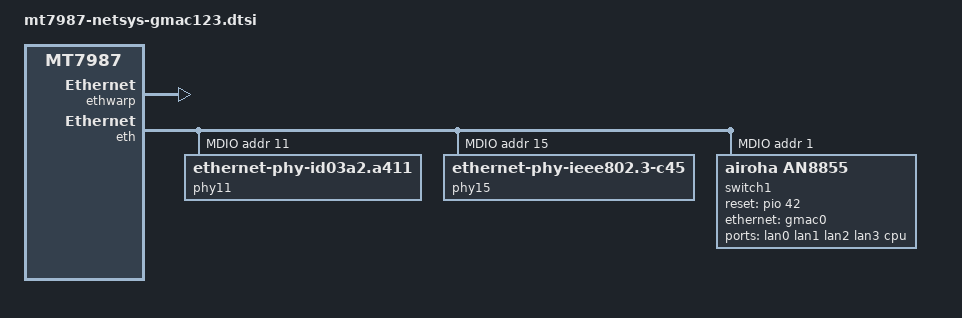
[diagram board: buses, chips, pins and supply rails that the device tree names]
// SPDX-License-Identifier: (GPL-2.0 OR MIT)

#include <dt-bindings/interrupt-controller/irq.h>
#include <dt-bindings/interrupt-controller/arm-gic.h>
#include <dt-bindings/phy/phy.h>
#include <dt-bindings/reset/ti-syscon.h>
#include <dt-bindings/clock/mediatek,mt7987-clk.h>
#include <dt-bindings/pinctrl/mt65xx.h>

&netsys {
	ethwarp: syscon@15031000 {
		compatible = "mediatek,mt7988-ethwarp", "syscon";
		reg = <0 0x15031000 0 0x1000>;
		#clock-cells = <1>;
	};

	eth: ethernet@15100000 {
		compatible = "mediatek,mt7987-eth";
		reg = <0 0x15100000 0 0x80000>,
		      <0 0x15400000 0 0x20000>;
		interrupts = <GIC_SPI 189 IRQ_TYPE_LEVEL_HIGH>,
			     <GIC_SPI 190 IRQ_TYPE_LEVEL_HIGH>,
			     <GIC_SPI 191 IRQ_TYPE_LEVEL_HIGH>,
			     <GIC_SPI 192 IRQ_TYPE_LEVEL_HIGH>,
			     <GIC_SPI 196 IRQ_TYPE_LEVEL_HIGH>,
			     <GIC_SPI 197 IRQ_TYPE_LEVEL_HIGH>,
			     <GIC_SPI 198 IRQ_TYPE_LEVEL_HIGH>,
			     <GIC_SPI 199 IRQ_TYPE_LEVEL_HIGH>;
		clocks = <&ethsys CK_ETHDMA_FE_EN>,
			 <&ethsys CK_ETHDMA_GP2_EN>,
			 <&ethsys CK_ETHDMA_GP1_EN>,
			 <&ethsys CK_ETHDMA_GP3_EN>,
			 <&sgmiisys0 CK_SGM0_TX_EN>,
			 <&sgmiisys0 CK_SGM0_RX_EN>,
			 <&sgmiisys1 CK_SGM1_TX_EN>,
			 <&sgmiisys1 CK_SGM1_RX_EN>,
			 <&topckgen CK_TOP_SGM_0_SEL>,
			 <&topckgen CK_TOP_SGM_1_SEL>,
			 <&topckgen CK_TOP_ETH_GMII_SEL>,
			 <&topckgen CK_TOP_ETH_REFCK_50M_SEL>,
			 <&topckgen CK_TOP_ETH_SYS_200M_SEL>,
			 <&topckgen CK_TOP_ETH_SYS_SEL>,
			 <&topckgen CK_TOP_ETH_XGMII_SEL>,
			 <&topckgen CK_TOP_ETH_MII_SEL>,
			 <&topckgen CK_TOP_NETSYS_SEL>,
			 <&topckgen CK_TOP_NETSYS_500M_SEL>,
			 <&topckgen CK_TOP_NETSYS_2X_SEL>;
		clock-names = "fe", "gp2", "gp1", "gp3", "sgmii_tx250m",
			      "sgmii_rx250m", "sgmii2_tx250m", "sgmii2_rx250m",
			      "top_sgm0_sel", "top_sgm1_sel", "top_eth_gmii_sel",
			      "top_eth_refck_50m_sel", "top_eth_sys_200m_sel",
			      "top_eth_sys_sel", "top_eth_xgmii_sel",
			      "top_eth_mii_sel", "top_netsys_sel",
			      "top_netsys_500m_sel", "top_netsys_pao_2x_sel";
		assigned-clocks = <&topckgen CK_TOP_NETSYS_2X_SEL>,
				  <&topckgen CK_TOP_SGM_0_SEL>,
				  <&topckgen CK_TOP_SGM_1_SEL>;
		assigned-clock-parents = <&apmixedsys CK_APMIXED_NET2PLL>,
					 <&apmixedsys CK_APMIXED_SGMPLL>,
					 <&apmixedsys CK_APMIXED_SGMPLL>;
		mediatek,ethsys = <&ethsys>;
		mediatek,sgmiisys = <&sgmiisys0>, <&sgmiisys1>;
		mediatek,infracfg = <&topmisc>;
		mediatek,toprgu = <&watchdog>;
		pinctrl-names = "default";
		pinctrl-0 = <&mdio0_pins>;
		#reset-cells = <1>;
		#address-cells = <1>;
		#size-cells = <0>;
		status = "disabled";

		gmac0: mac@0 {
			compatible = "mediatek,eth-mac";
			reg = <0>;
			mac-type = "gdm";
			phy-mode = "2500base-x";

			fixed-link {
				speed = <2500>;
				full-duplex;
				pause;
			};
		};

		gmac1: mac@1 {
			compatible = "mediatek,eth-mac";
			reg = <1>;
			mac-type = "xgdm";
			phy-mode = "internal";
			phy-handle = <&phy15>;
		};

		gmac2: mac@2 {
			compatible = "mediatek,eth-mac";
			reg = <2>;
			mac-type = "gdm";
			phy-mode = "2500base-x";
			phy-handle = <&phy11>;
		};

		mdio: mdio-bus {
			#address-cells = <1>;
			#size-cells = <0>;
			reset-gpios = <&pio 48 1>;
			reset-delay-us = <10000>;

			phy11: phy@11 {
				compatible = "ethernet-phy-id03a2.a411";
				reg = <11>;
				phy-mode = "2500base-x";
				airoha,polarity = <1>;
				airoha,surge = <0>;
				airoha,phy-handle;
			};

			phy15: phy@15 {
				pinctrl-names = "i2p5gbe-led";
				pinctrl-0 = <&i2p5gbe_led0_pins>;
				compatible = "ethernet-phy-ieee802.3-c45";
				reg = <15>;
				phy-mode = "internal";
			};

			switch1: switch@1 {
				compatible = "airoha,an8855";
				reg = <1>;
				airoha,extSurge = <1>;
				reset-gpios = <&pio 42 0>;
			};
		};
	};

	hnat: hnat@15000000 {
		compatible = "mediatek,mtk-hnat_v5";
		reg = <0 0x15100000 0 0x80000>;
		interrupts = <GIC_SPI 198 IRQ_TYPE_LEVEL_HIGH>;
		resets = <&ethsys 0>;
		reset-names = "mtketh";
		status = "disabled";
	};

	crypto: crypto@15600000 {
		compatible = "inside-secure,safexcel-eip197b",
			     "security-ip-197-srv";
		reg = <0 0x15600000 0 0x180000>;
		interrupts = <GIC_SPI 214 IRQ_TYPE_LEVEL_HIGH>,
			     <GIC_SPI 215 IRQ_TYPE_LEVEL_HIGH>,
			     <GIC_SPI 216 IRQ_TYPE_LEVEL_HIGH>,
			     <GIC_SPI 217 IRQ_TYPE_LEVEL_HIGH>;
		interrupt-names = "ring0", "ring1", "ring2", "ring3";
		eth = <&eth>;
		status = "disabled";
	};
};

&crypto {
	status = "okay";
};

&eth {
	status = "okay";
};

&hnat {
	mtketh-wan = "eth1";
	mtketh-lan = "lan";
	mtketh-lan2 = "eth2";
	mtketh-max-gmac = <3>;
	mtketh-ppe-num = <1>;
	status = "okay";
};

&switch1 {
	ports {
		#address-cells = <1>;
		#size-cells = <0>;

		port@0 {
			reg = <0>;
			label = "lan0";
		};

		port@1 {
			reg = <1>;
			label = "lan1";
		};

		port@2 {
			reg = <2>;
			label = "lan2";
		};

		port@3 {
			reg = <3>;
			label = "lan3";
		};

		port@5 {
			reg = <5>;
			label = "cpu";
			ethernet = <&gmac0>;
			phy-mode = "2500base-x";

			fixed-link {
				speed = <2500>;
				full-duplex;
				pause;
			};
		};
	};
};
